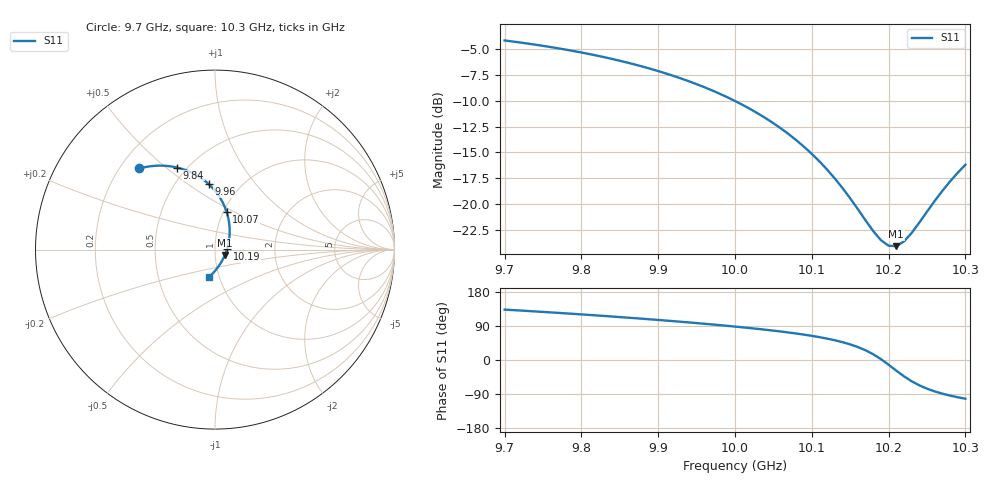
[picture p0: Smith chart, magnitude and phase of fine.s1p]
! yapnr rf: antenna-x10, footprint re-simulated (refine 2)
! spec sha256 610baf4a0fb2ba4ef1c8cfcd4b0ca20bdc87be27183a6f686c22b10d0e099fe1
! 1 ports renormalized to 50 ohm, e^(+jwt) convention
# GHz S RI R 50
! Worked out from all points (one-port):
!   63 points, 9.7 GHz to 10.3 GHz, reference 50 ohm
!   lowest |S11| = -24.1 dB at 10.21 GHz (marker M1), VSWR 1.13, Z = 55.8 - j3.31 ohm
!   |S11| at or under -10 dB: 9.999 GHz to end of sweep
!   S11 on the Smith chart (normalised r, x): 9.7 GHz: 0.28, +0.41; 9.84 GHz: 0.45, +0.55; 9.96 GHz: 0.72, +0.61; 10.07 GHz: 1.04, +0.45; 10.19 GHz: 1.14, +0.01; 10.3 GHz: 0.90, -0.28
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9.7  -0.4214 0.4521
9.74  -0.3641 0.4638
9.78  -0.3039 0.4678
9.81  -0.2574 0.4651
9.84  -0.2105 0.457
9.85  -0.1949 0.453
9.89  -0.1337 0.4305
9.93  -0.0758 0.3974
9.96  -0.0361 0.3658
10  0.00994 0.3151
10.02  0.0294 0.2865
10.04  0.046 0.2561
10.07  0.0654 0.2077
10.08  0.0703 0.191
10.1  0.0775 0.157
10.12  0.0812 0.1224
10.13  0.0818 0.105
10.15  0.0803 0.0704
10.18  0.0716 0.0193
10.19  0.067 0.00272
10.2  0.0616 -0.0136
10.21  0.0553 -0.0295
10.22  0.0483 -0.0451
10.23  0.0405 -0.0603
10.26  0.0129 -0.1029
10.27  0.00239 -0.116
10.28  -0.00874 -0.1285
10.3  -0.0327 -0.1517
